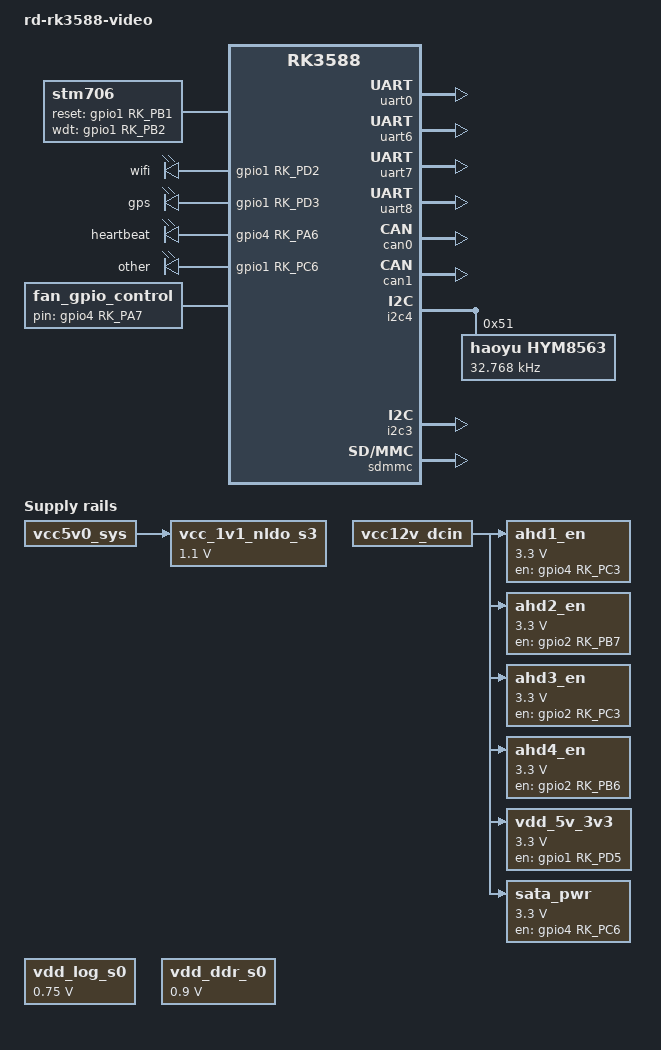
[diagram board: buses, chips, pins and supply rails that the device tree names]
/* board base */

#define RD_RK3588_VIDEO

#include "rp-rk3588-board.dtsi"

/* usb */
#include "rp-usb3-otg-typeA.dtsi"
#include "rp-usb3-host-typeA.dtsi"
#include "rp-usb2-host.dtsi"

/* ethernet */
#include "rp-eth-pcie2gmac-rk3588.dtsi"
#include "rp-eth-gmac1.dtsi"

/* sata, pcie2 or usb3.0 */
#include "rp-sata3.0-ssd.dtsi"

/* m.2 */
#include "rp-pcie3.0-2x2lane.dtsi"

/* audio */
#include "rp-audio-rt5640.dtsi"

/* wifi/bt */
#include "rp-wifi-bt-ap6275p-rk3588.dtsi"

/* camera */

#include "rp-camera-dcphy0-mipi-xs9922b.dtsi"
#include "rp-camera-dcphy1-mipi-xs9922b.dtsi"
#include "rp-camera-dphy0-mipi-xs9922b.dtsi"
#include "rp-camera-dphy1-mipi-xs9922b.dtsi"

/* display */
#include "rp-lcd-hdmi0.dtsi"
#include "rp-lcd-hdmi1.dtsi"

#include "rp-lcd-mipi0-mipi2hdmi-it6161.dtsi"
#include "rp-lcd-mipi1-mipi2hdmi-it6161.dtsi"

/* mipi0 dp 都属于 vp2，设备树可同时开启但同时插入会导致无显示 */
#include "rp-lcd-dp0-dp2vga-it6516bfn.dtsi"

/ {
    model = "rd-rk3588-video";

    reserved-memory {
        #address-cells = <2>;
        #size-cells = <2>;
        ranges;
        dma_trans: dma-trans@3c000000 {
            reg = <0x0 0x3c000000 0x0 0x04000000>;
        };
    };

    vcc_1v1_nldo_s3: vcc-1v1-nldo-s3 {
        compatible = "regulator-fixed";
        regulator-name = "vcc_1v1_nldo_s3";
        regulator-always-on;
        regulator-boot-on;
        regulator-min-microvolt = <1100000>;
        regulator-max-microvolt = <1100000>;
        vin-supply = <&vcc5v0_sys>;
    };
    
    // define in rp-pcie3.0-2x2lane.dtsi
    vcc3v3-pcie30 {
        gpios = <&gpio2 RK_PC5 GPIO_ACTIVE_HIGH>;
    };
    
    // define in rp-usb3-otg-typeA.dtsi
    vbus5v0-otg {
        gpios = <&gpio1 RK_PA2 GPIO_ACTIVE_HIGH>;
    };
    
    ahd1_en: ahd1-en {
        compatible = "regulator-fixed";
        regulator-name = "ahd1_en";
        regulator-always-on;
        regulator-boot-on;
        regulator-min-microvolt = <3300000>;
        regulator-max-microvolt = <3300000>;
        enable-active-high;
        gpios = <&gpio4 RK_PC3 GPIO_ACTIVE_HIGH>;
        startup-delay-us = <5000>;
        vin-supply = <&vcc12v_dcin>;
    };
    
    ahd2_en: ahd2-en {
        compatible = "regulator-fixed";
        regulator-name = "ahd2_en";
        regulator-always-on;
        regulator-boot-on;
        regulator-min-microvolt = <3300000>;
        regulator-max-microvolt = <3300000>;
        enable-active-high;
        gpios = <&gpio2 RK_PB7 GPIO_ACTIVE_HIGH>;
        startup-delay-us = <5000>;
        vin-supply = <&vcc12v_dcin>;
    };
    
    ahd3_en: ahd3-en {
        compatible = "regulator-fixed";
        regulator-name = "ahd3_en";
        regulator-always-on;
        regulator-boot-on;
        regulator-min-microvolt = <3300000>;
        regulator-max-microvolt = <3300000>;
        enable-active-high;
        gpios = <&gpio2 RK_PC3 GPIO_ACTIVE_HIGH>;
        startup-delay-us = <5000>;
        vin-supply = <&vcc12v_dcin>;
    };
    
    ahd4_en: ahd4-en {
        compatible = "regulator-fixed";
        regulator-name = "ahd4_en";
        regulator-always-on;
        regulator-boot-on;
        regulator-min-microvolt = <3300000>;
        regulator-max-microvolt = <3300000>;
        enable-active-high;
        gpios = <&gpio2 RK_PB6 GPIO_ACTIVE_HIGH>;
        startup-delay-us = <5000>;
        vin-supply = <&vcc12v_dcin>;
    };
    
    // Power on as soon as possible 
    vdd_5v_3v3: vdd-5v-3v3 {
        compatible = "regulator-fixed";
        regulator-name = "vdd_5v_3v3";
        regulator-always-on;
        regulator-boot-on;
        regulator-min-microvolt = <3300000>;
        regulator-max-microvolt = <3300000>;
        enable-active-high;
        gpios = <&gpio1 RK_PD5 GPIO_ACTIVE_HIGH>;
        startup-delay-us = <5000>;
        vin-supply = <&vcc12v_dcin>;
    };
    
    sata_pwr: sata-pwr {
        compatible = "regulator-fixed";
        regulator-name = "sata_pwr";
        regulator-always-on;
        regulator-boot-on;
        regulator-min-microvolt = <3300000>;
        regulator-max-microvolt = <3300000>;
        enable-active-high;
        gpios = <&gpio4 RK_PC6 GPIO_ACTIVE_HIGH>;
        startup-delay-us = <5000>;
        vin-supply = <&vcc12v_dcin>;
    };    

    stm706 {
        status = "okay";
        compatible = "stm706";
        reset_gpio = <&gpio1 RK_PB1 GPIO_ACTIVE_HIGH>;
        wdt_gpio = <&gpio1 RK_PB2 GPIO_ACTIVE_HIGH>;
    };
    
    leds {
        compatible = "gpio-leds";
        /delete-node/ work;
        
        /*
         * enable led:
         * echo wlan0 > /sys/class/leds/wifi/device_name
         * echo 1 > /sys/class/leds/wifi/link
         * echo 1 > /sys/class/leds/wifi/tx
         * echo 1 > /sys/class/leds/wifi/rx
         */
        wifi_led: wifi_led {
            label = "wifi";
            gpios = <&gpio1 RK_PD2 GPIO_ACTIVE_HIGH>;
            default-state = "off";
            linux,default-trigger = "netdev";
        };
        
        /*
         * modify trigger uart:
         * echo ttyUSB0 > /sys/class/leds/gps/device_name
         */
        gps_led: serial_led {
            label = "gps";
            gpios = <&gpio1 RK_PD3 GPIO_ACTIVE_HIGH>;
            linux,default-trigger = "serial-activity";
            default-state = "off";
            default-uart = "ttyS0"; // config a default uart to trigger led.
        };
        
        /* 
         * trigger led blink
         * echo heartbeat > /sys/class/leds/heartbeat_led/trigger
         */
        heartbeat_led: led-heartbeat {
            label = "heartbeat";
            gpios = <&gpio4 RK_PA6 GPIO_ACTIVE_HIGH>;
            default-state = "on";
            linux,default-trigger = "none";
        };
        
        /*
         * other led for user custom
         * 1. config blink mode: echo "255 100 0 200 255 100" > /sys/class/leds/other/pattern
         * brightness:255, hold time:100ms, brightness:0, hold time:200ms, brightness:255, hold time:100ms
         * 
         * 2. config repeat times: echo 5 > /sys/class/leds/other/repeat (repeat 5 times)
         * -1(default): forever
         */
        other_led: other-led {
            label = "other";
            gpios = <&gpio1 RK_PC6 GPIO_ACTIVE_HIGH>; 
            default-state = "on"; 
            linux,default-trigger = "pattern";
        };
    };

    fan_gpio_control {
        compatible = "fan_gpio_control";
        gpio-pin = <&gpio4 RK_PA7 GPIO_ACTIVE_HIGH>;
        thermal-zone = "soc-thermal";
        threshold-temp = <60000>; //60C
        running-time = <10000>; //10s
        status = "okay";
    };

    rp_power{
        status = "okay";
        compatible = "rp_power";
        rp_not_deep_sleep = <1>;

/*
 * #define GPIO_FUNCTION_OUTPUT 0
 * #define GPIO_FUNCTION_INPUT 1
 * #define GPIO_FUNCTION_IRQ 2
 * #define GPIO_FUNCTION_FLASH 3
 * #define GPIO_FUNCTION_OUTPUT_CTRL 4
 */     
        usb3_hub_rst {  
            gpio_num = <&gpio3 RK_PB2 GPIO_ACTIVE_LOW>;
            gpio_function = <4>;
        };
        
        //all usb pwr ctrl
        vcc5v_usb_pwr {  
            gpio_num = <&gpio2 RK_PC1 GPIO_ACTIVE_HIGH>;
            gpio_function = <4>;
        };

        vdd_gps {
            gpio_num = <&gpio2 RK_PC0 GPIO_ACTIVE_HIGH>;
            gpio_function = <4>;
        };

        vdd_4G {  
            gpio_num = <&gpio4 RK_PA4 GPIO_ACTIVE_HIGH>;
            gpio_function = <4>;
        };
        
        ft4232_pwr {
            gpio_num = <&gpio4 RK_PC2 GPIO_ACTIVE_HIGH>;
            gpio_function = <4>;
        };
    };

    rp_gpio{
        status = "okay";
        compatible = "rp_gpio";
        
        // input GPIO
        // gpio1a7
        IO_IN_1 {
            gpio_num = <&gpio1 RK_PA7 GPIO_ACTIVE_HIGH>;
            gpio_function = <1>;
        };
        // gpio1b0
        IO_IN_2 {
            gpio_num = <&gpio1 RK_PB0 GPIO_ACTIVE_HIGH>;
            gpio_function = <1>;
        };
        // gpio1b6
        IO_IN_3 {
            gpio_num = <&gpio1 RK_PB6 GPIO_ACTIVE_HIGH>;
            gpio_function = <1>;
        };
        // gpio1b7
        IO_IN_4 {
            gpio_num = <&gpio1 RK_PB7 GPIO_ACTIVE_HIGH>;
            gpio_function = <1>;
        };
        // gpio3c6
        IO_IN_5 {
            gpio_num = <&gpio3 RK_PC6 GPIO_ACTIVE_HIGH>;
            gpio_function = <1>;
        };
        // gpio4b4
        IO_IN_6 {
            gpio_num = <&gpio4 RK_PB4 GPIO_ACTIVE_HIGH>;
            gpio_function = <1>;
        };
        // end input GPIO
        
        // output GPIO
        // gpio4a5
        IO_OUT_1 {
            gpio_num = <&gpio4 RK_PA5 GPIO_ACTIVE_HIGH>;
            gpio_function = <0>;
        };
        // gpio3d1
        IO_OUT_2 {
            gpio_num = <&gpio3 RK_PD1 GPIO_ACTIVE_HIGH>;
            gpio_function = <0>;
        };
        // gpio3d2
        IO_OUT_3 {
            gpio_num = <&gpio3 RK_PD2 GPIO_ACTIVE_HIGH>;
            gpio_function = <0>;
        };
        // gpio3d4
        IO_OUT_4 {
            gpio_num = <&gpio3 RK_PD4 GPIO_ACTIVE_HIGH>;
            gpio_function = <0>;
        };
        // gpio3d3
        IO_OUT_5 {
            gpio_num = <&gpio3 RK_PD3 GPIO_ACTIVE_HIGH>;
            gpio_function = <0>;
        };
        // gpio3d5
        IO_OUT_6 {
            gpio_num = <&gpio3 RK_PD5 GPIO_ACTIVE_HIGH>;
            gpio_function = <0>;
        };
        // end output GPIO
    };
};

&pcie2x1l0 {    
    /delete-property/ vpcie3v3-supply;
};

&pcie2x1l2 {
    /delete-property/ vpcie3v3-supply;
};

// GPS
&uart0 {
    status = "okay";
    pinctrl-names = "default";
    pinctrl-0 = <&uart0m0_xfer>;
};

// RS485
&uart6 {
    status = "okay";
    pinctrl-names = "default";
    pinctrl-0 = <&uart6m0_xfer>;
};

// RS485
&uart7 {
    status = "okay";
    pinctrl-names = "default";
    pinctrl-0 = <&uart7m1_xfer>;
};

// RS232
&uart8 {
    status = "okay";
    pinctrl-names = "default";
    pinctrl-0 = <&uart8m0_xfer>;
};

&can0 {
    assigned-clocks = <&cru CLK_CAN0>;
    assigned-clock-rates = <200000000>;
    status = "okay";
    pinctrl-names = "default";
    pinctrl-0 = <&can0m0_pins>;
};

&can1 {
    assigned-clocks = <&cru CLK_CAN0>;
    assigned-clock-rates = <200000000>;
    status = "okay";
    pinctrl-names = "default";
    pinctrl-0 = <&can1m1_pins>;
};

&i2c4 {
    status = "okay";
    pinctrl-names = "default";
    pinctrl-0 = <&i2c4m1_xfer>;

    hym8563: hym8563@51 {
        status = "okay";
        compatible = "haoyu,hym8563";
        reg = <0x51>;
        #clock-cells = <0>;
        clock-frequency = <32768>;
        clock-output-names = "hym8563";
        //pinctrl-names = "default";
        //pinctrl-0 = <&hym8563_int>;
        //interrupt-parent = <&gpio0>;
        //interrupts = <RK_PD4 IRQ_TYPE_LEVEL_LOW>;
        wakeup-source;
    };
};

&i2c3 {
    status = "okay";
};

&sdmmc {
    status = "okay";
};

&fiq_debugger {
    rockchip,baudrate = <115200>;
};


&vdd_log_s0 {
	regulator-always-on;
	regulator-boot-on;
	regulator-min-microvolt = <750000>;
	regulator-max-microvolt = <750000>;
	regulator-ramp-delay = <12500>;
	regulator-name = "vdd_log_s0";
	regulator-state-mem {
		regulator-off-in-suspend;
		regulator-suspend-microvolt = <750000>;
	};
};

&dmc {
    status = "disabled";
};
		
&dfi {
    status = "disabled";
};
			
&vdd_ddr_s0 {
	regulator-always-on;
	regulator-boot-on;
	regulator-min-microvolt = <900000>;
	regulator-max-microvolt = <900000>;
	regulator-ramp-delay = <12500>;
	regulator-name = "vdd_ddr_s0";
	regulator-state-mem {
		regulator-off-in-suspend;
		regulator-suspend-microvolt = <900000>;
	};
};
